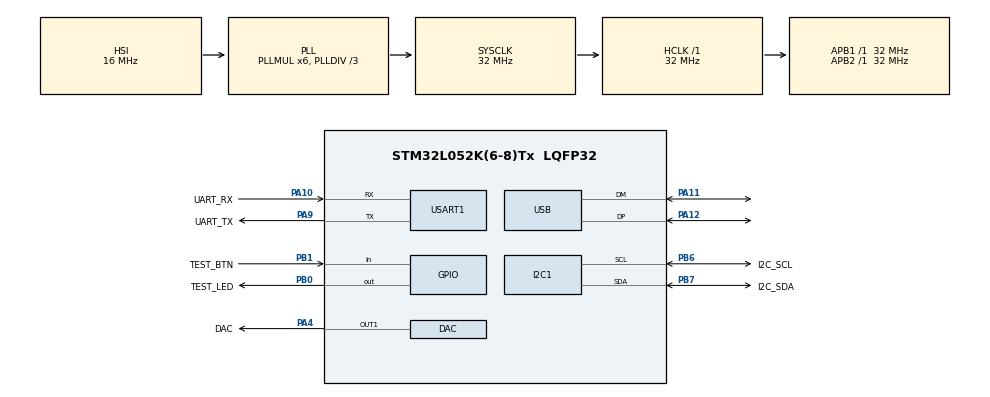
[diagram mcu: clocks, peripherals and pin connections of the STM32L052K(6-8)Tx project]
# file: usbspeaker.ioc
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DAC.DAC_Trigger=DAC_TRIGGER_T6_TRGO
Dma.DAC_CH1.0.Direction=DMA_MEMORY_TO_PERIPH
Dma.DAC_CH1.0.Instance=DMA1_Channel2
Dma.DAC_CH1.0.MemDataAlignment=DMA_MDATAALIGN_HALFWORD
Dma.DAC_CH1.0.MemInc=DMA_MINC_ENABLE
Dma.DAC_CH1.0.Mode=DMA_CIRCULAR
Dma.DAC_CH1.0.PeriphDataAlignment=DMA_PDATAALIGN_HALFWORD
Dma.DAC_CH1.0.PeriphInc=DMA_PINC_DISABLE
Dma.DAC_CH1.0.Priority=DMA_PRIORITY_MEDIUM
Dma.Request0=DAC_CH1
I2C1.Timing=0x00707CBB
Mcu.Family=STM32L0
Mcu.Name=STM32L052K(6-8)Tx
Mcu.Package=LQFP32
NVIC.DMA1_Channel2_3_IRQn=true\:0\:0\:false\:false\:true\:false
NVIC.USB_IRQn=true\:0\:0\:false\:false\:true\:false
PA10.GPIO_Label=UART_RX
PA10.Mode=Asynchronous
PA10.Signal=USART1_RX
PA11.Mode=Device
PA11.Signal=USB_DM
PA12.Mode=Device
PA12.Signal=USB_DP
PA4.GPIO_Label=DAC
PA4.Signal=COMP_DAC1_group
PA9.GPIO_Label=UART_TX
PA9.Mode=Asynchronous
PA9.Signal=USART1_TX
PB0.GPIO_Label=TEST_LED
PB0.GPIO_PuPd=GPIO_NOPULL
PB0.Signal=GPIO_Output
PB1.GPIO_Label=TEST_BTN
PB1.GPIO_PuPd=GPIO_PULLUP
PB1.Signal=GPIO_Input
PB6.GPIO_Label=I2C_SCL
PB6.Mode=I2C
PB6.Signal=I2C1_SCL
PB7.GPIO_Label=I2C_SDA
PB7.Mode=I2C
PB7.Signal=I2C1_SDA
ProjectManager.HeapSize=0x200
ProjectManager.StackSize=0x400
ProjectManager.TargetToolchain=Makefile
RCC.AHBFreq_Value=32000000
RCC.APB1Freq_Value=32000000
RCC.APB1TimFreq_Value=32000000
RCC.APB2Freq_Value=32000000
RCC.APB2TimFreq_Value=32000000
RCC.HCLKFreq_Value=32000000
RCC.HSI16_VALUE=16000000
RCC.HSI48MClockSelection=RCC_USBCLKSOURCE_HSI48
RCC.HSI48_VALUE=48000000
RCC.HSI_VALUE=16000000
RCC.LSE_VALUE=32768
RCC.MSI_VALUE=2097000
RCC.PLLDIV=RCC_PLLDIV_3
RCC.PLLMUL=RCC_PLLMUL_6
RCC.SYSCLKFreq_VALUE=32000000
RCC.SYSCLKSource=RCC_SYSCLKSOURCE_PLLCLK
RCC.VCOOutputFreq_Value=96000000
SH.COMP_DAC1_group.0=DAC_OUT1,DAC_OUT1
TIM6.Period=1448
TIM6.Prescaler=0
TIM6.TIM_MasterOutputTrigger=TIM_TRGO_UPDATE
USART1.VirtualMode-Asynchronous=VM_ASYNC
USART1.WordLength=WORDLENGTH_8B
USB_DEVICE.CLASS_NAME_FS=AUDIO
USB_DEVICE.PID_AUDIO_FS=0x5730
USB_DEVICE.USBD_AUDIO_FREQ=22100
USB_DEVICE.VirtualMode=Audio
USB_DEVICE.VirtualModeFS=Audio_FS
VP_TIM6_VS_ClockSourceINT.Mode=Enable_Timer
VP_USB_DEVICE_VS_USB_DEVICE_AUDIO_FS.Mode=AUDIO_FS
board=usbspeaker

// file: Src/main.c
/**
  ******************************************************************************
  * File Name          : main.c
  * Description        : Main program body
  ******************************************************************************
  * This notice applies to any and all portions of this file
  * that are not between comment pairs USER CODE BEGIN and
  * USER CODE END. Other portions of this file, whether
  * inserted by the user or by software development tools
  * are owned by their respective copyright owners.
  *
  * Copyright (c) 2018 STMicroelectronics International N.V.
  * All rights reserved.
  *
  * Redistribution and use in source and binary forms, with or without
  * modification, are permitted, provided that the following conditions are met:
  *
  * 1. Redistribution of source code must retain the above copyright notice,
  *    this list of conditions and the following disclaimer.
  * 2. Redistributions in binary form must reproduce the above copyright notice,
  *    this list of conditions and the following disclaimer in the documentation
  *    and/or other materials provided with the distribution.
  * 3. Neither the name of STMicroelectronics nor the names of other
  *    contributors to this software may be used to endorse or promote products
  *    derived from this software without specific written permission.
  * 4. This software, including modifications and/or derivative works of this
  *    software, must execute solely and exclusively on microcontroller or
  *    microprocessor devices manufactured by or for STMicroelectronics.
  * 5. Redistribution and use of this software other than as permitted under
  *    this license is void and will automatically terminate your rights under
  *    this license.
  *
  * THIS SOFTWARE IS PROVIDED BY STMICROELECTRONICS AND CONTRIBUTORS "AS IS"
  * AND ANY EXPRESS, IMPLIED OR STATUTORY WARRANTIES, INCLUDING, BUT NOT
  * LIMITED TO, THE IMPLIED WARRANTIES OF MERCHANTABILITY, FITNESS FOR A
  * PARTICULAR PURPOSE AND NON-INFRINGEMENT OF THIRD PARTY INTELLECTUAL PROPERTY
  * RIGHTS ARE DISCLAIMED TO THE FULLEST EXTENT PERMITTED BY LAW. IN NO EVENT
  * SHALL STMICROELECTRONICS OR CONTRIBUTORS BE LIABLE FOR ANY DIRECT, INDIRECT,
  * INCIDENTAL, SPECIAL, EXEMPLARY, OR CONSEQUENTIAL DAMAGES (INCLUDING, BUT NOT
  * LIMITED TO, PROCUREMENT OF SUBSTITUTE GOODS OR SERVICES; LOSS OF USE, DATA,
  * OR PROFITS; OR BUSINESS INTERRUPTION) HOWEVER CAUSED AND ON ANY THEORY OF
  * LIABILITY, WHETHER IN CONTRACT, STRICT LIABILITY, OR TORT (INCLUDING
  * NEGLIGENCE OR OTHERWISE) ARISING IN ANY WAY OUT OF THE USE OF THIS SOFTWARE,
  * EVEN IF ADVISED OF THE POSSIBILITY OF SUCH DAMAGE.
  *
  ******************************************************************************
  */

#include "main.h"
#include "stm32l0xx_hal.h"
#include "usb_device.h"

DAC_HandleTypeDef hdac;
DMA_HandleTypeDef hdma_dac_ch1;

I2C_HandleTypeDef hi2c1;

TIM_HandleTypeDef htim6;

UART_HandleTypeDef huart1;

/* USER CODE BEGIN PV */
/* Private variables ---------------------------------------------------------*/
uint8_t UartRxBuf1[MAX_PAYLOAD];
uint8_t UartRxBuf2[MAX_PAYLOAD];
uint8_t *UartIsrBuf = UartRxBuf1;
uint8_t *UartRxBuf = 0;
uint8_t bPktReceived = false;
// this should produce 500Hz sine wave
#define DAC_BUFSIZE			48
const uint16_t sinw[DAC_BUFSIZE] = {
		2047, 2308, 2564, 2812, 3047, 3264, 3461, 3633, 3779, 3894,\
		3978, 4029, 4047, 4029, 3978, 3894, 3779, 3633, 3461, 3264,\
		3047, 2812, 2564, 2308, 2047, 1785, 1529, 1281, 1047,  829,\
		 632,  469,  314,  199,  115,   64,   47,   64,  155,  199,\
		 314,  460,  632,  829, 1046, 1281, 1529, 1785};

/* USER CODE END PV */

void SystemClock_Config(void);
static void MX_GPIO_Init(void);
static void MX_DMA_Init(void);
static void MX_DAC_Init(void);
static void MX_USART1_UART_Init(void);
static void MX_I2C1_Init(void);
static void MX_TIM6_Init(void);

/* USER CODE BEGIN PFP */
/* Private function prototypes -----------------------------------------------*/
void UartRxTask(void);
void TestCallback(void);
/* USER CODE END PFP */

int main(void)
{

  /* USER CODE BEGIN 1 */
	int result;
	uint8_t event[EVT_QWIDTH];
	uint8_t payload[MAX_PAYLOAD];
  /* USER CODE END 1 */

  /* MCU Configuration----------------------------------------------------------*/

  /* Reset of all peripherals, Initializes the Flash interface and the Systick. */
  HAL_Init();

  /* Configure the system clock */
  SystemClock_Config();

  /* Initialize all configured peripherals */
  MX_GPIO_Init();
  MX_DMA_Init();
  MX_DAC_Init();
  MX_USART1_UART_Init();
  MX_I2C1_Init();
  MX_USB_DEVICE_Init();
  MX_TIM6_Init();

  /* USER CODE BEGIN 2 */
	// initialize SerialComm
	SerialComm_Init();
	// initialize the pushbutton handler with mask byte.
	PushButton_Init(0x01);
	// start a timer routine: 10msec period, perpetual
	result = UsrTimer_Set(10, 0, UartRxTask);
	// UART output test
	UartPrintf("\r\n\t\tSystem Started: %d\r\n", result);
	// Send IAM packet
	SerialComm_SendByte(PKT_IAM);
	// Start DAC with DMA
	/*
	HAL_DAC_Start_DMA(&hdac, DAC_CHANNEL_1, (uint32_t*)sinw, DAC_BUFSIZE,
			DAC_ALIGN_12B_R);
	HAL_TIM_Base_Start(&htim6);
	*/
  /* USER CODE END 2 */

  /* Infinite loop */
	while (1)
	{

  /* USER CODE BEGIN 3 */

		// check event queue
		if(Evt_DeQueue(event))
		{
			switch(event[0])
			{
			// pushbutton event ================================================
			// event[1]: button id
			// event[2]: PBTN_SCLK, _DCLK, _TCLK, _LCLK, _DOWN, _ENDN
			case EVT_PBTN_INPUT:

				if(event[2] == PBTN_SCLK)
				{
					UartPrintf("\r\nButton %d: single click.", event[1]);
				}
				else if(event[2] == PBTN_LCLK)
				{
					UartPrintf("\r\nButton %d: long click.", event[1]);
				}
				else if(event[2] == PBTN_DCLK)
				{
					UartPrintf("\r\nButton %d: double click.", event[1]);
				}
				else if(event[2] == PBTN_TCLK)
				{
					UartPrintf("\r\nButton %d: triple click.", event[1]);

					PushButton_SetMode(PUSHBTN_MODE_UDOWN, true);
					UartPrintf("\r\n --> Switch to up-down mode.");
				}
				else if(event[2] == PBTN_DOWN)
				{
					UartPrintf("\r\nButton %d: is being pressed.", event[1]);
				}
				else if(event[2] == PBTN_ENDN)
				{
					UartPrintf("\r\nButton %d: has been released.", event[1]);
					PushButton_SetMode(PUSHBTN_MODE_CLICK, true);
					UartPrintf("\r\n --> Switch to click mode.");
				}
				break;

			// uart event ======================================================
			// event[1]: payload size
			// event[2]: command
			// event[3:]: data
			case EVT_UART_RXPKT:

				if(event[2] == SYS_SRESET)
				{
					HAL_NVIC_SystemReset();
				}
				else if(event[2] == SYS_WRESET)
				{
					HAL_NVIC_SystemReset();
				}
				else if(event[2] == DIO_SETVAL)
				{
					if(event[3] == 0x01)
					{
						HAL_GPIO_WritePin(TEST_LED_GPIO_Port, TEST_LED_Pin,
						                  GPIO_PIN_SET);

						SerialComm_SendByte(PKT_ACK);
					}
				}
				else if(event[2] == DIO_RSTVAL)
				{
					if(event[3] == 0x01)
					{
						HAL_GPIO_WritePin(TEST_LED_GPIO_Port, TEST_LED_Pin,
						                  GPIO_PIN_RESET);

						SerialComm_SendByte(PKT_ACK);
					}
				}
				else if(event[2] == DIO_GETVAL)
				{
					if(event[3] == 0x01)
					{
						payload[0] = RPT_U08X01;
						payload[1] = (uint8_t)HAL_GPIO_ReadPin(
						                 TEST_LED_GPIO_Port, TEST_LED_Pin);
						SerialComm_SendPacket(payload, 2);
					}
				}
				else
				{
					SerialComm_SendByte(PKT_NAK);
				}
				break;

			default:
				break;
			}
		}
		else
		{
			// delay here is recommended not to call Evt_DeQueue too frequently
			HAL_Delay(30);
		}
	}
  /* USER CODE END 3 */

}

/** System Clock Configuration
*/
void SystemClock_Config(void)
{

  RCC_OscInitTypeDef RCC_OscInitStruct;
  RCC_ClkInitTypeDef RCC_ClkInitStruct;
  RCC_PeriphCLKInitTypeDef PeriphClkInit;

    /**Configure the main internal regulator output voltage
    */
  __HAL_PWR_VOLTAGESCALING_CONFIG(PWR_REGULATOR_VOLTAGE_SCALE1);

    /**Initializes the CPU, AHB and APB busses clocks
    */
  RCC_OscInitStruct.OscillatorType = RCC_OSCILLATORTYPE_HSI|RCC_OSCILLATORTYPE_HSI48;
  RCC_OscInitStruct.HSIState = RCC_HSI_ON;
  RCC_OscInitStruct.HSICalibrationValue = 16;
  RCC_OscInitStruct.HSI48State = RCC_HSI48_ON;
  RCC_OscInitStruct.PLL.PLLState = RCC_PLL_ON;
  RCC_OscInitStruct.PLL.PLLSource = RCC_PLLSOURCE_HSI;
  RCC_OscInitStruct.PLL.PLLMUL = RCC_PLLMUL_6;
  RCC_OscInitStruct.PLL.PLLDIV = RCC_PLLDIV_3;
  if (HAL_RCC_OscConfig(&RCC_OscInitStruct) != HAL_OK)
  {
    _Error_Handler(__FILE__, __LINE__);
  }

    /**Initializes the CPU, AHB and APB busses clocks
    */
  RCC_ClkInitStruct.ClockType = RCC_CLOCKTYPE_HCLK|RCC_CLOCKTYPE_SYSCLK
                              |RCC_CLOCKTYPE_PCLK1|RCC_CLOCKTYPE_PCLK2;
  RCC_ClkInitStruct.SYSCLKSource = RCC_SYSCLKSOURCE_PLLCLK;
  RCC_ClkInitStruct.AHBCLKDivider = RCC_SYSCLK_DIV1;
  RCC_ClkInitStruct.APB1CLKDivider = RCC_HCLK_DIV1;
  RCC_ClkInitStruct.APB2CLKDivider = RCC_HCLK_DIV1;

  if (HAL_RCC_ClockConfig(&RCC_ClkInitStruct, FLASH_LATENCY_1) != HAL_OK)
  {
    _Error_Handler(__FILE__, __LINE__);
  }

  PeriphClkInit.PeriphClockSelection = RCC_PERIPHCLK_USART1|RCC_PERIPHCLK_I2C1
                              |RCC_PERIPHCLK_USB;
  PeriphClkInit.Usart1ClockSelection = RCC_USART1CLKSOURCE_PCLK2;
  PeriphClkInit.I2c1ClockSelection = RCC_I2C1CLKSOURCE_PCLK1;
  PeriphClkInit.UsbClockSelection = RCC_USBCLKSOURCE_HSI48;
  if (HAL_RCCEx_PeriphCLKConfig(&PeriphClkInit) != HAL_OK)
  {
    _Error_Handler(__FILE__, __LINE__);
  }

    /**Configure the Systick interrupt time
    */
  HAL_SYSTICK_Config(HAL_RCC_GetHCLKFreq()/1000);

    /**Configure the Systick
    */
  HAL_SYSTICK_CLKSourceConfig(SYSTICK_CLKSOURCE_HCLK);

  /* SysTick_IRQn interrupt configuration */
  HAL_NVIC_SetPriority(SysTick_IRQn, 0, 0);
}

/* DAC init function */
static void MX_DAC_Init(void)
{

  DAC_ChannelConfTypeDef sConfig;

    /**DAC Initialization
    */
  hdac.Instance = DAC;
  if (HAL_DAC_Init(&hdac) != HAL_OK)
  {
    _Error_Handler(__FILE__, __LINE__);
  }

    /**DAC channel OUT1 config
    */
  sConfig.DAC_Trigger = DAC_TRIGGER_T6_TRGO;
  sConfig.DAC_OutputBuffer = DAC_OUTPUTBUFFER_ENABLE;
  if (HAL_DAC_ConfigChannel(&hdac, &sConfig, DAC_CHANNEL_1) != HAL_OK)
  {
    _Error_Handler(__FILE__, __LINE__);
  }

}

/* I2C1 init function */
static void MX_I2C1_Init(void)
{

  hi2c1.Instance = I2C1;
  hi2c1.Init.Timing = 0x00707CBB;
  hi2c1.Init.OwnAddress1 = 0;
  hi2c1.Init.AddressingMode = I2C_ADDRESSINGMODE_7BIT;
  hi2c1.Init.DualAddressMode = I2C_DUALADDRESS_DISABLE;
  hi2c1.Init.OwnAddress2 = 0;
  hi2c1.Init.OwnAddress2Masks = I2C_OA2_NOMASK;
  hi2c1.Init.GeneralCallMode = I2C_GENERALCALL_DISABLE;
  hi2c1.Init.NoStretchMode = I2C_NOSTRETCH_DISABLE;
  if (HAL_I2C_Init(&hi2c1) != HAL_OK)
  {
    _Error_Handler(__FILE__, __LINE__);
  }

    /**Configure Analogue filter
    */
  if (HAL_I2CEx_ConfigAnalogFilter(&hi2c1, I2C_ANALOGFILTER_ENABLE) != HAL_OK)
  {
    _Error_Handler(__FILE__, __LINE__);
  }

    /**Configure Digital filter
    */
  if (HAL_I2CEx_ConfigDigitalFilter(&hi2c1, 0) != HAL_OK)
  {
    _Error_Handler(__FILE__, __LINE__);
  }

}

/* TIM6 init function */
static void MX_TIM6_Init(void)
{

  TIM_MasterConfigTypeDef sMasterConfig;

  htim6.Instance = TIM6;
  htim6.Init.Prescaler = 0;
  htim6.Init.CounterMode = TIM_COUNTERMODE_UP;
  htim6.Init.Period = 1448;
  if (HAL_TIM_Base_Init(&htim6) != HAL_OK)
  {
    _Error_Handler(__FILE__, __LINE__);
  }

  sMasterConfig.MasterOutputTrigger = TIM_TRGO_UPDATE;
  sMasterConfig.MasterSlaveMode = TIM_MASTERSLAVEMODE_DISABLE;
  if (HAL_TIMEx_MasterConfigSynchronization(&htim6, &sMasterConfig) != HAL_OK)
  {
    _Error_Handler(__FILE__, __LINE__);
  }

}

/* USART1 init function */
static void MX_USART1_UART_Init(void)
{

  huart1.Instance = USART1;
  huart1.Init.BaudRate = 115200;
  huart1.Init.WordLength = UART_WORDLENGTH_8B;
  huart1.Init.StopBits = UART_STOPBITS_1;
  huart1.Init.Parity = UART_PARITY_NONE;
  huart1.Init.Mode = UART_MODE_TX_RX;
  huart1.Init.HwFlowCtl = UART_HWCONTROL_NONE;
  huart1.Init.OverSampling = UART_OVERSAMPLING_16;
  huart1.Init.OneBitSampling = UART_ONE_BIT_SAMPLE_DISABLE;
  huart1.AdvancedInit.AdvFeatureInit = UART_ADVFEATURE_NO_INIT;
  if (HAL_UART_Init(&huart1) != HAL_OK)
  {
    _Error_Handler(__FILE__, __LINE__);
  }

}

static void MX_DMA_Init(void)
{
  /* DMA controller clock enable */
  __HAL_RCC_DMA1_CLK_ENABLE();

  /* DMA interrupt init */
  /* DMA1_Channel2_3_IRQn interrupt configuration */
  HAL_NVIC_SetPriority(DMA1_Channel2_3_IRQn, 0, 0);
  HAL_NVIC_EnableIRQ(DMA1_Channel2_3_IRQn);

}

/** Configure pins as
        * Analog
        * Input
        * Output
        * EVENT_OUT
        * EXTI
*/
static void MX_GPIO_Init(void)
{

  GPIO_InitTypeDef GPIO_InitStruct;

  /* GPIO Ports Clock Enable */
  __HAL_RCC_GPIOA_CLK_ENABLE();
  __HAL_RCC_GPIOB_CLK_ENABLE();

  /*Configure GPIO pin Output Level */
  HAL_GPIO_WritePin(TEST_LED_GPIO_Port, TEST_LED_Pin, GPIO_PIN_RESET);

  /*Configure GPIO pin : TEST_LED_Pin */
  GPIO_InitStruct.Pin = TEST_LED_Pin;
  GPIO_InitStruct.Mode = GPIO_MODE_OUTPUT_PP;
  GPIO_InitStruct.Pull = GPIO_NOPULL;
  GPIO_InitStruct.Speed = GPIO_SPEED_FREQ_LOW;
  HAL_GPIO_Init(TEST_LED_GPIO_Port, &GPIO_InitStruct);

  /*Configure GPIO pin : TEST_BTN_Pin */
  GPIO_InitStruct.Pin = TEST_BTN_Pin;
  GPIO_InitStruct.Mode = GPIO_MODE_INPUT;
  GPIO_InitStruct.Pull = GPIO_PULLUP;
  HAL_GPIO_Init(TEST_BTN_GPIO_Port, &GPIO_InitStruct);

}

/* USER CODE BEGIN 4 */

/** Printf() style UART output. Check the standard c library that comes
 * with the compiler for the scope of the format string it supports.
 */
void UartPrintf(const char *format, ...)
{
	char buffer[128];
	uint16_t size;
	va_list args;

	va_start(args, format);
	size = vsprintf(buffer, format, args);
	va_end(args);

	HAL_UART_Transmit(&huart1, (uint8_t*)buffer, size, 1000);
}

/** SysTick callback function override.
 */
void HAL_SYSTICK_Callback()
{
	// UsrTimer_Routine will have 1msec resolution
	UsrTimer_Routine();
}

/** This function returns the state (click/release) of the pushbuttons
 * in a uint8_t variable, each bit of which corresponds to a button.
 * Note that 1 implies the button is clicked (pressed) and 0 implies the
 * button is released.
 *
 * \return	pushbutton state packed in a uint8_t.
 */
uint8_t PushButton_Read()
{
	// button released
	if(HAL_GPIO_ReadPin(TEST_BTN_GPIO_Port, TEST_BTN_Pin))
	{
		return 0x00;
	}
	// button pressed
	else
	{
		return 0x01;
	}
}

/** UART Rx Task
 */
void UartRxTask()
{
	int i;
	uint8_t event[EVT_QWIDTH];

	// packet received
	if(bPktReceived)
	{
		// event id
		event[0] = EVT_UART_RXPKT;
		// event data size
		event[1] = UartRxBuf[1];

		// copy the payload
		for(i = 0; i< UartRxBuf[1]; i++)
		{
			event[2+i] = UartRxBuf[2+i];
		}

		// register the event
		Evt_EnQueue(event);
		// clear the flag
		bPktReceived = 0;
	}
}

/** Initialize SerialComm
 */
void SerialComm_Init()
{
	LL_USART_EnableIT_RXNE(huart1.Instance);
}

void SerialComm_RxRoutine()
{
	pkt_status status;

	status = SerialComm_Decoder(LL_USART_ReceiveData8(huart1.Instance),
	                            UartIsrBuf);

	if(status == PKT_RECEIVED)
	{
		// switch ping pong buffer
		if(UartIsrBuf == UartRxBuf1)
		{
			UartIsrBuf = UartRxBuf2;
			UartRxBuf = UartRxBuf1;
		}
		else
		{
			UartIsrBuf = UartRxBuf1;
			UartRxBuf = UartRxBuf2;
		}
		// raise flag
		bPktReceived = true;
	}
}

void SerialComm_SendByte(uint8_t byte)
{
	LL_USART_TransmitData8(huart1.Instance, byte);
}

void SerialComm_SendByteArray(uint8_t *buffer, int size)
{
	HAL_UART_Transmit(&huart1, buffer, size, 1000);
}

void TestCallback()
{
	HAL_GPIO_TogglePin(TEST_LED_GPIO_Port, TEST_LED_Pin);
}
/* USER CODE END 4 */

void _Error_Handler(char * file, int line)
{
	while(1)
	{
	}
}

/************************ (C) COPYRIGHT STMicroelectronics *****END OF FILE****/
